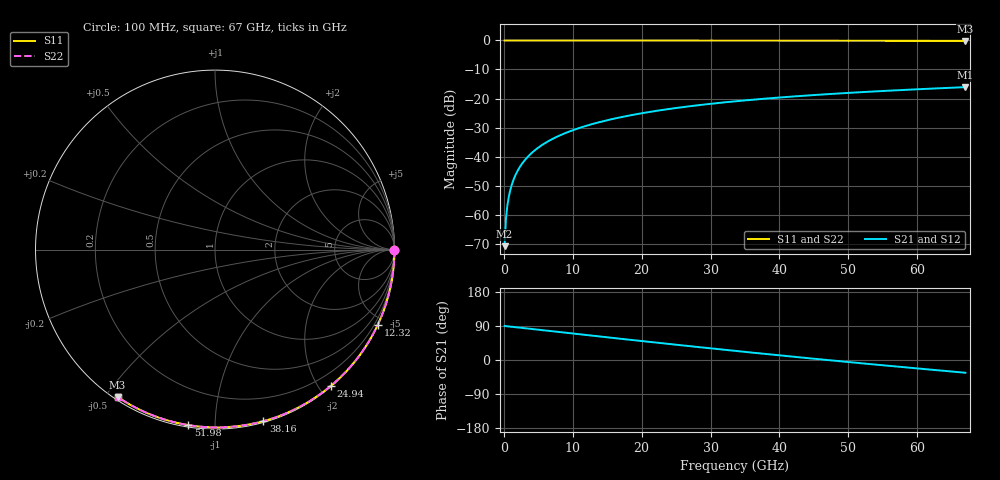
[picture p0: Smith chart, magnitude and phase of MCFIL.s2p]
! Created with skrf (http://scikit-rf.org).
# Hz S RI R 50.0
!freq ReS11 ImS11 ReS21 ImS21 ReS12 ImS12 ReS22 ImS22
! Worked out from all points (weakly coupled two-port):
!   335 points, 100 MHz to 67 GHz, reference 50 ohm
!   highest |S21| = -16.07 dB at 67 GHz (marker M1); lowest = -70.8 dB at 100 MHz (marker M2)
!   lowest |S11| = -0.1 dB at 67 GHz (marker M3), VSWR 124.06, Z = 0.519 - j26.9 ohm
!   |S11| at or under -10 dB: nowhere
!   |S22| runs from -0.1 to 0.0 dB; largest |S21 - S12| = 5.7e-13
!   S11 on the Smith chart (normalised r, x): 100 MHz: open; 12.32 GHz: 0.01, -4.56; 24.94 GHz: 0.01, -2.17; 38.16 GHz: 0.01, -1.32; 51.98 GHz: 0.01, -0.86; 67 GHz: 0.01, -0.54
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1e8  1 -0.00352  1.24e-06 0.000287  1.24e-06 0.000287  1 -0.00352
3.002994e8  0.9999 -0.0106  9.79e-06 0.000861  9.79e-06 0.000861  0.9999 -0.0106
5.005988e8  0.9998 -0.0176  2.65e-05 0.00144  2.65e-05 0.00144  0.9998 -0.0176
7.008982e8  0.9997 -0.0247  5.12e-05 0.00201  5.12e-05 0.00201  0.9997 -0.0247
9.011976e8  0.9995 -0.0317  8.41e-05 0.00258  8.41e-05 0.00258  0.9995 -0.0317
1.301796e9  0.9989 -0.0458  0.000174 0.00373  0.000174 0.00373  0.9989 -0.0458
1.702395e9  0.9981 -0.0599  0.000296 0.00487  0.000296 0.00487  0.9981 -0.0599
2.303293e9  0.9966 -0.081  0.00054 0.00658  0.00054 0.00658  0.9966 -0.081
3.705389e9  0.9913 -0.1301  0.00139 0.0105  0.00139 0.0105  0.9913 -0.1301
5.708383e9  0.9796 -0.1995  0.00327 0.016  0.00327 0.016  0.9796 -0.1995
8.111976e9  0.9591 -0.2812  0.00653 0.0222  0.00653 0.0222  0.9591 -0.2812
1.131677e10  0.9213 -0.3865  0.0125 0.0296  0.0125 0.0296  0.9213 -0.3865
1.231826e10  0.9071 -0.4184  0.0147 0.0317  0.0147 0.0317  0.9071 -0.4184
1.692515e10  0.8286 -0.5567  0.0266 0.0394  0.0266 0.0394  0.8286 -0.5567
2.253353e10  0.7067 -0.7035  0.0441 0.0442  0.0441 0.0442  0.7067 -0.7035
2.493713e10  0.6471 -0.758  0.0522 0.0444  0.0522 0.0444  0.6471 -0.758
3.355e10  0.4076 -0.9072  0.0817 0.0366  0.0817 0.0366  0.4076 -0.9072
3.815689e10  0.269 -0.9562  0.0963 0.0269  0.0963 0.0269  0.269 -0.9562
4.476677e10  0.0666 -0.9891  0.1141 0.00749  0.1141 0.00749  0.0666 -0.9891
5.197754e10  -0.1492 -0.9778  0.1274 -0.0197  0.1274 -0.0197  -0.1492 -0.9778
5.598353e10  -0.2633 -0.9521  0.1317 -0.0367  0.1317 -0.0367  -0.2633 -0.9521
6.7e10  -0.5431 -0.8205  0.1309 -0.087  0.1309 -0.087  -0.5431 -0.8205
